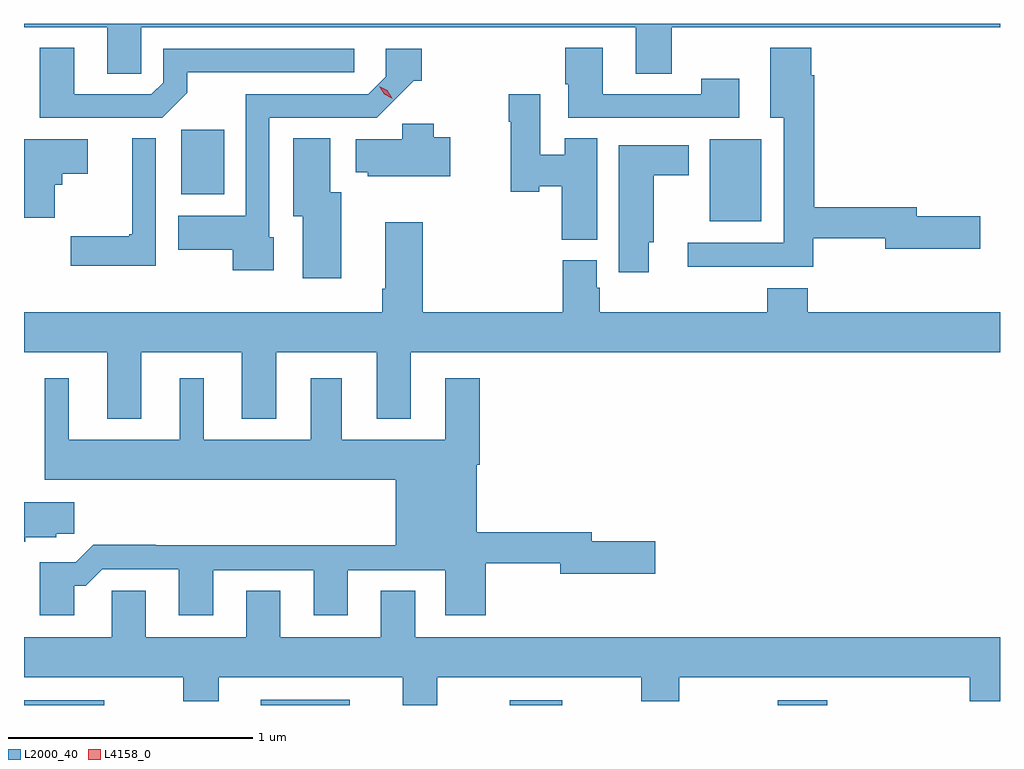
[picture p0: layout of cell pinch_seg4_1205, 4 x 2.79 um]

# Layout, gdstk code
import gdstk
lib = gdstk.Library(unit=1e-6, precision=1e-09)
def R(c, l, rs):  # rectangles x0, y0, x1, y1
    for r in rs: c.add(gdstk.rectangle(r[:2], r[2:], *l))
def P(c, l, *ps):  # polygons
    for p in ps: c.add(gdstk.Polygon(p, *l))
L2000_40 = (2000, 40)
L4158_0 = (4158, 0)

pinch_seg4_1205 = lib.new_cell('pinch_seg4_1205')
R(pinch_seg4_1205, L2000_40, [(359.172,830.004,359.5,830.025), (360.143,830.004,360.508,830.028), (361.163,830.004,361.378,830.025), (362.262,830.004,362.464,830.025), (361.982,831.989,362.194,832.324), (359.816,832.1,359.992,832.364)])
P(pinch_seg4_1205, L2000_40, [(359.652,832.784),(361.679,832.784),(361.679,832.594),(361.827,832.594),(361.827,832.784),(363.172,832.784),(363.172,832.799),(359.172,832.799),(359.172,832.784),(359.513,832.784),(359.513,832.594),(359.652,832.594)],
  [(359.841,832.515),(359.841,832.599),(360.526,832.599),(360.526,832.695),(359.742,832.695),(359.742,832.557),(359.694,832.509),(359.377,832.509),(359.377,832.699),(359.237,832.699),(359.237,832.413),(359.739,832.413)],
  [(362.104,832.573),(361.948,832.573),(361.948,832.509),(361.543,832.509),(361.543,832.699),(361.391,832.699),(361.391,832.551),(361.403,832.551),(361.403,832.413),(362.104,832.413)],
  [(362.406,831.918),(362.702,831.918),(362.702,831.875),(363.091,831.875),(363.091,832.01),(362.83,832.01),(362.83,832.046),(362.411,832.046),(362.411,832.586),(362.398,832.586),(362.398,832.699),(362.231,832.699),(362.231,832.412),(362.285,832.412),(362.285,831.9),(361.893,831.9),(361.893,831.803),(362.406,831.803)],
  [(360.196,831.924),(360.177,831.924),(360.177,832.413),(360.618,832.413),(360.77,832.565),(360.802,832.565),(360.802,832.695),(360.654,832.695),(360.654,832.581),(360.582,832.509),(360.081,832.509),(360.081,832.012),(359.805,832.012),(359.805,831.872),(360.028,831.872),(360.028,831.788),(360.196,831.788)],
  [(361.522,832.328),(361.388,832.328),(361.388,832.261),(361.288,832.261),(361.288,832.51),(361.159,832.51),(361.159,832.397),(361.166,832.397),(361.166,832.109),(361.284,832.109),(361.284,832.132),(361.376,832.132),(361.376,831.913),(361.522,831.913)],
  [(360.919,832.332),(360.852,832.332),(360.852,832.389),(360.723,832.389),(360.723,832.324),(360.531,832.324),(360.531,832.19),(360.581,832.19),(360.581,832.172),(360.919,832.172)],
  [(359.712,832.328),(359.615,832.328),(359.615,831.936),(359.604,831.936),(359.604,831.928),(359.364,831.928),(359.364,831.806),(359.712,831.806)],
  [(360.472,832.108),(360.427,832.108),(360.427,832.328),(360.275,832.328),(360.275,832.01),(360.314,832.01),(360.314,831.756),(360.472,831.756)],
  [(359.298,832.139),(359.329,832.139),(359.329,832.184),(359.434,832.184),(359.434,832.324),(359.172,832.324),(359.172,832.002),(359.298,832.002)],
  [(361.732,831.903),(361.753,831.903),(361.753,832.178),(361.897,832.178),(361.897,832.3),(361.61,832.3),(361.61,831.78),(361.732,831.78)],
  [(359.653,831.452),(360.065,831.452),(360.065,831.179),(360.205,831.179),(360.205,831.452),(360.617,831.452),(360.617,831.179),(360.757,831.179),(360.757,831.452),(363.172,831.452),(363.172,831.616),(362.384,831.616),(362.384,831.715),(362.219,831.715),(362.219,831.616),(361.532,831.616),(361.532,831.717),(361.519,831.717),(361.519,831.828),(361.379,831.828),(361.379,831.616),(360.806,831.616),(360.806,831.985),(360.653,831.985),(360.653,831.712),(360.641,831.712),(360.641,831.616),(359.172,831.616),(359.172,831.452),(359.513,831.452),(359.513,831.179),(359.653,831.179)],
  [(359.377,830.495),(359.426,830.495),(359.493,830.562),(359.807,830.562),(359.807,830.373),(359.947,830.373),(359.947,830.559),(360.359,830.559),(360.359,830.373),(360.499,830.373),(360.499,830.559),(360.899,830.559),(360.899,830.373),(361.064,830.373),(361.064,830.586),(361.37,830.586),(361.37,830.543),(361.759,830.543),(361.759,830.678),(361.498,830.678),(361.498,830.714),(361.027,830.714),(361.027,830.99),(361.04,830.99),(361.04,831.346),(360.899,831.346),(360.899,831.094),(360.475,831.094),(360.475,831.346),(360.347,831.346),(360.347,831.094),(359.908,831.094),(359.908,831.346),(359.81,831.346),(359.81,831.094),(359.356,831.094),(359.356,831.346),(359.258,831.346),(359.258,830.93),(360.695,830.93),(360.695,830.66),(359.711,830.66),(359.711,830.663),(359.456,830.663),(359.385,830.592),(359.237,830.592),(359.237,830.373),(359.377,830.373)],
  [(359.178,830.693),(359.304,830.693),(359.304,830.707),(359.377,830.707),(359.377,830.836),(359.172,830.836),(359.172,830.675),(359.178,830.675)],
  [(359.824,830.021),(359.971,830.021),(359.971,830.12),(360.725,830.12),(360.725,830.004),(360.865,830.004),(360.865,830.12),(361.702,830.12),(361.702,830.021),(361.857,830.021),(361.857,830.12),(363.047,830.12),(363.047,830.021),(363.172,830.021),(363.172,830.284),(360.775,830.284),(360.775,830.474),(360.635,830.474),(360.635,830.284),(360.223,830.284),(360.223,830.474),(360.083,830.474),(360.083,830.284),(359.671,830.284),(359.671,830.474),(359.532,830.474),(359.532,830.284),(359.172,830.284),(359.172,830.12),(359.824,830.12)])
P(pinch_seg4_1205, L4158_0, [(360.68,832.492),(360.648,832.51),(360.628,832.542),(360.628,832.542),(360.628,832.542),(360.661,832.525),(360.681,832.493),(360.681,832.492)])

lib.write_gds('pinch_seg4_1205.gds')
